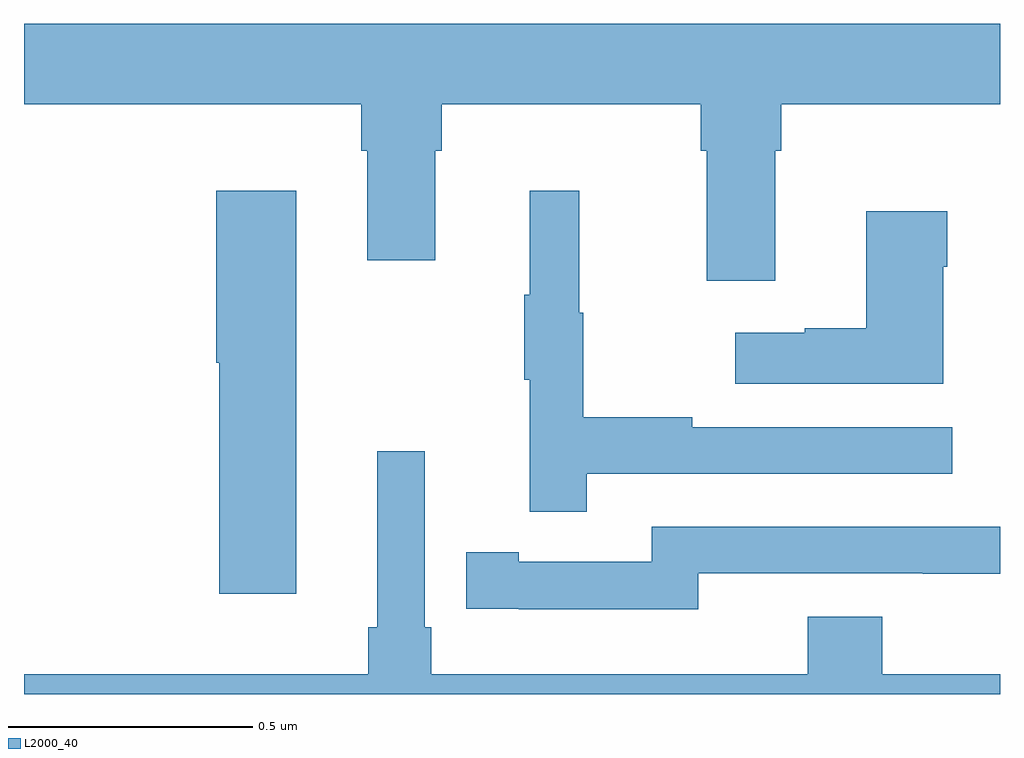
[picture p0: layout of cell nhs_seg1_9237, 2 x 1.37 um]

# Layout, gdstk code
import gdstk
lib = gdstk.Library(unit=1e-6, precision=1e-09)
def P(c, l, *ps):  # polygons
    for p in ps: c.add(gdstk.Polygon(p, *l))
L2000_40 = (2000, 40)

nhs_seg1_9237 = lib.new_cell('nhs_seg1_9237')
P(nhs_seg1_9237, L2000_40, [(227.539,542.312),(227.552,542.312),(227.552,542.408),(228,542.408),(228,542.572),(226,542.572),(226,542.408),(226.691,542.408),(226.691,542.312),(226.703,542.312),(226.703,542.088),(226.843,542.088),(226.843,542.312),(226.856,542.312),(226.856,542.408),(227.387,542.408),(227.387,542.312),(227.399,542.312),(227.399,542.046),(227.539,542.046)],
  [(227.153,541.65),(227.902,541.65),(227.902,541.746),(227.369,541.746),(227.369,541.766),(227.146,541.766),(227.146,541.98),(227.138,541.98),(227.138,542.23),(227.036,542.23),(227.036,542.017),(227.025,542.017),(227.025,541.843),(227.036,541.843),(227.036,541.572),(227.153,541.572)],
  [(226.558,542.23),(226.394,542.23),(226.394,541.878),(226.4,541.878),(226.4,541.404),(226.558,541.404)],
  [(227.884,542.075),(227.892,542.075),(227.892,542.188),(227.726,542.188),(227.726,541.949),(227.6,541.949),(227.6,541.939),(227.457,541.939),(227.457,541.835),(227.884,541.835)],
  [(228,541.24),(227.759,541.24),(227.759,541.357),(227.606,541.357),(227.606,541.24),(226.835,541.24),(226.835,541.336),(226.821,541.336),(226.821,541.696),(226.724,541.696),(226.724,541.336),(226.705,541.336),(226.705,541.24),(226,541.24),(226,541.199),(228,541.199)],
  [(227.382,541.446),(227.842,541.446),(227.842,541.445),(228,541.445),(228,541.542),(227.286,541.542),(227.286,541.47),(227.014,541.47),(227.014,541.49),(226.906,541.49),(226.906,541.374),(227.014,541.374),(227.014,541.373),(227.382,541.373)])

lib.write_gds('nhs_seg1_9237.gds')
